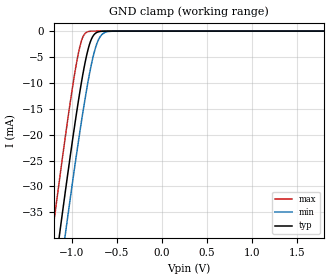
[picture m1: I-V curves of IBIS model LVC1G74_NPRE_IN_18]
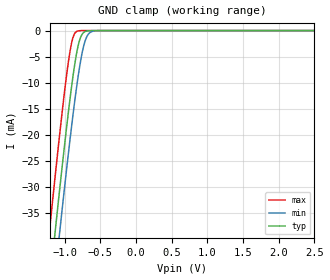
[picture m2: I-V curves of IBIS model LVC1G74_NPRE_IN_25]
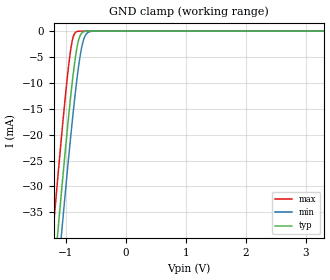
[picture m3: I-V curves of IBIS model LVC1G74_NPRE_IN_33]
| TEXAS INSTRUMENTS INCORPORATED
| Standard Linear and Logic Group
| IBIS Model of SN74LVC1G74
| SINGLE POSITIVE-EDGE-TRIGGERED D-TYPE FLIP FLOP WITH CLEAR AND PRESET
| This file contains package information for the following:
|  SSOP 8-pin (DCT) package as [Component] LVC1G74_DCT
|  VSSOP 8-pin (DCU) package as [Component] LVC1G74_DCU
|  8-pin RES package as [Component] LVC1G74_RSE
|  8-pin (DQE) package as [Component] LVC1G74_DQE
| This device can be powered at the following Vccs:
|  1.8 volt Vcc
|  2.5 volt Vcc
|  3.3 volt Vcc
|  5 volt Vcc
| This file provides unique models under the [Model Selector] for each Vcc.
| For operation at a specific Vcc, select the appropriate model after each
| [Model Selector] keyword.
[IBIS Ver]   3.2
[Comment char]  |_char
[File Name]   sn74lvc1g74.ibs
[File Rev]   1.1 | d_die
[Date]   July 25, 2019
[Source]   Data created from TI-SPICE simulations at TI-SLL.
[Notes]   The following is an IBIS list for the LVC1G74.
   Please contact sllibis@ti.com with questions and
   comments concerning SLL IBIS models.
   - Power-clamp data has been deleted since there is no
   power-clamp diode in the device. s
   - Due to the fact that the device is 5-V input/output
   tolerant, the pullup data has some non-monotonic warnings.
   - Due to the fact that the Device is 5.5-V Input tolarent,
   the pulldown model has some Non-Monotonic Warnings.
[Disclaimer] Property of Texas Instruments Incorporated.  Unauthorized
                reproduction and/or distribution is strictly prohibited.
                This product is protected under copyright law.
                Created  2019, (C) Copyright  2019, Texas Instruments
                Incorporated, All Rights Reserved
                UNLESS THERE IS A SIGNED, WRITTEN AGREEMENT TO THE
                CONTRARY, TEXAS INSTRUMENTS (TI) IS PROVIDING THE IBIS
                MODELS  AND WITHOUT ANY WARRANTY, EXPRESSED OR
                IMPLIED.  TI assumes no liability for:
                 1) the accuracy of the IBIS models provided to your
                    company;
                 2) the proper functioning of these IBIS Models in your
                    design or for any resulting applications; or
                 3) infringement of patents, copyrights or intellectual
                    property rights resulting from your use of these IBIS
                    models.
                TI provides IBIS Models as a service to our customers.
                You and your company shall not distribute, sell or give
                these models to anyone else without prior written
                permission from TI.
                TI reserves the right to make changes to our products or
                to discontinue any semiconductor product or service
                without notice, and advises our customers to obtain the
                latest version of relevant information to verify, before
                placing orders, that the information being relied on is
                current.
                Please be aware that your receipt and use of the IBIS
                information provided shall serve as acceptance of these
                terms and conditions.  If you do not accept these terms,
                you should return or destroy the IBIS models and any
                other accompanying information immediately.
| Component LVC1G74_DCT 8-pin SOT
[Component]   LVC1G74_DCT
[Manufacturer]   Texas Instruments, Inc.
[Package]
|   typ   min   max
R_pkg   2.900e-02   2.800e-02   3.100e-02
L_pkg   1.796e-09   1.666e-09   1.924e-09
C_pkg   2.310e-13   2.210e-13   2.420e-13
[Pin]   signal_name   model_name   R_pin   L_pin   C_pin
1   CLK   LVC1G74_IN   3.100e-02   1.894e-09   2.230e-13
2   D   LVC1G74_IN   2.800e-02   1.697e-09   2.370e-13
3   NQ   LVC1G74_OUT   3.000e-02   1.722e-09   2.390e-13
4   GND   GND   3.000e-02   1.861e-09   2.210e-13
5   Q   LVC1G74_OUT   2.800e-02   1.924e-09   2.280e-13
6   NCLR   LVC1G74_NCLR_IN   2.900e-02   1.736e-09   2.420e-13
7   NPRE   LVC1G74_NPRE_IN   2.800e-02   1.666e-09   2.360e-13
8   VCC   POWER   3.000e-02   1.871e-09   2.220e-13
| Component LVC1G74_DCU 8-pin SOT
[Component]   LVC1G74_DCU
[Manufacturer]   Texas Instruments, Inc.
[Package]
|   typ   min   max
R_pkg   2.600e-02   2.300e-02   3.800e-02
L_pkg   1.394e-09   1.066e-09   2.046e-09
C_pkg   2.590e-13   2.150e-13   3.720e-13
[Pin]   signal_name   model_name   R_pin   L_pin   C_pin
1   CLK   LVC1G74_IN   2.400e-02   1.520e-09   2.710e-13
2   D   LVC1G74_IN   2.300e-02   1.112e-09   2.180e-13
3   NQ   LVC1G74_OUT   2.300e-02   1.070e-09   2.170e-13
4   GND   GND   2.700e-02   2.046e-09   3.720e-13
5   Q   LVC1G74_OUT   2.700e-02   1.542e-09   2.730e-13
6   NCLR   LVC1G74_IN   2.300e-02   1.100e-09   2.240e-13
7   NPRE   LVC1G74_IN   2.300e-02   1.066e-09   2.150e-13
8   VCC   POWER   3.800e-02   1.696e-09   2.800e-13
| Component LVC1G74_PW 8-PIN DQE
[Component]   LVC1G74_DQE
[Manufacturer]   Texas Instruments, Inc.
[Package]
|   typ   min   max
R_pkg   4.041e-02   2.609e-02   5.397e-02
L_pkg   3.575e-10   2.969e-10   4.398e-10
C_pkg   5.781e-14   5.009e-14   6.768e-14
[Pin]   signal_name   model_name   R_pin   L_pin   C_pin
1   CLK   LVC1G74_IN   NA   NA   NA
2   D   LVC1G74_IN   NA   NA   NA
3   NQ   LVC1G74_OUT   NA   NA   NA
4   GND   GND   NA   NA   NA
5   Q   LVC1G74_OUT   NA   NA   NA
6   NCLR   LVC1G74_IN   NA   NA   NA
7   NPRE   LVC1G74_IN   NA   NA   NA
8   VCC   POWER   NA   NA   NA
| Component LVC1G74_RSE
[Component]   LVC1G74_RSE
[Manufacturer]   Texas Instruments, Inc.
[Package]
|   typ   min   max
R_pkg   0.07384   0.06172   0.08697
L_pkg   0.51021nH   0.40726nH   0.62174nH
C_pkg   0.18219pF   0.17417pF   0.19566pF
[Pin]   signal_name   model_name   R_pin   L_pin   C_pin
1   CLK   LVC1G74_IN   NA   NA   NA
2   D   LVC1G74_IN   NA   NA   NA
3   NQ   LVC1G74_OUT   NA   NA   NA
4   GND   GND   NA   NA   NA
5   Q   LVC1G74_OUT   NA   NA   NA
6   NCLR   LVC1G74_IN   NA   NA   NA
7   NPRE   LVC1G74_IN   NA   NA   NA
8   VCC   POWER   NA   NA   NA
| Model LVC1G74_NPRE_IN
[Model Selector]   LVC1G74_NPRE_IN
LVC1G74_NPRE_IN_18   1.8 volt Vcc
LVC1G74_NPRE_IN_25   2.5 volt Vcc
LVC1G74_NPRE_IN_33   3.3 volt Vcc
LVC1G74_NPRE_IN_50   5 volt Vcc
| Model LVC1G74_NCLR_IN
[Model Selector]   LVC1G74_NCLR_IN
LVC1G74_NCLR_IN_18   1.8 volt Vcc
LVC1G74_NCLR_IN_25   2.5 volt Vcc
LVC1G74_NCLR_IN_33   3.3 volt Vcc
LVC1G74_NCLR_IN_50   5 volt Vcc
| Model LVC1G74_IN
[Model Selector]   LVC1G74_IN
LVC1G74_IN_18   1.8 volt Vcc
LVC1G74_IN_25   2.5 volt Vcc
LVC1G74_IN_33   3.3 volt Vcc
LVC1G74_IN_50   5 volt Vcc
| Model LVC1G74_OUT
[Model Selector]   LVC1G74_OUT
LVC1G74_OUT_18   1.8 volt Vcc
LVC1G74_OUT_25   2.5 volt Vcc
LVC1G74_OUT_33   3.3 volt Vcc
LVC1G74_OUT_50   5 volt Vcc
| Models and submodels in the file (16): LVC1G74_NPRE_IN_18 (Input), LVC1G74_NPRE_IN_25 (Input), LVC1G74_NPRE_IN_33 (Input), LVC1G74_NPRE_IN_50 (Input), LVC1G74_NCLR_IN_18 (Input), LVC1G74_NCLR_IN_25 (Input), LVC1G74_NCLR_IN_33 (Input), LVC1G74_NCLR_IN_50 (Input), LVC1G74_IN_18 (Input), LVC1G74_IN_25 (Input), LVC1G74_IN_33 (Input), LVC1G74_IN_50 (Input), LVC1G74_OUT_18 (Output), LVC1G74_OUT_25 (Output), LVC1G74_OUT_33 (Output), LVC1G74_OUT_50 (Output)
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[Model]   LVC1G74_NPRE_IN_18
Model_type  Input
Vinl=0.5775
Vinh=1.2675
| variable   typ   min   max
C_comp   3.50pF   2.98pF   4.30pF
[Temperature Range]   40   100   -40
| Ambient temperature   25   85   -40
[Voltage range]   1.8   1.65   1.95
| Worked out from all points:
|   GND clamp passes 1 mA (typ) near -0.77 V on its own axis
[GND Clamp]
| LVC1G74_NPRE_IN_18
|   Voltage   I(typ)   I(min)   I(max)
-5.5V     -655.2mA   -662.2mA   -646.6mA
-1.215V   -49.6mA    -57.88mA   -38.96mA
-1.135V   -39.07mA   -47.36mA   -28.42mA
-1.075V   -31.35mA   -39.6mA    -20.75mA
-1.055V   -28.82mA   -37.05mA   -18.27mA
-955mV    -16.68mA   -24.66mA   -6.874mA
-885mV    -9.098mA   -16.55mA   -1.486mA
-825mV    -3.922mA   -10.26mA   -137.1uA
-780mV    -1.472mA   -6.227mA   -17.15uA
-715mV    -205.4uA   -2.128mA   -808.5nA
-650mV    -22.01uA   -443.9uA   -37.93nA
1.8V      3.326pA    6.142pA    3.026pA
[Model]   LVC1G74_NPRE_IN_25
Model_type  Input
Vinl=0.7
Vinh=1.7
| variable   typ   min   max
C_comp   3.43pF   2.80pF   4.40pF
[Temperature Range]   40   100   -40
| Ambient temperature   25   85   -40
[Voltage range]   2.5   2.3   2.7
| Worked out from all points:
|   GND clamp passes 1 mA (typ) near -0.77 V on its own axis
[GND Clamp]
| LVC1G74_NPRE_IN_25
|   Voltage   I(typ)   I(min)   I(max)
-5.5V     -655.2mA   -662.2mA   -646.6mA
-1.215V   -49.6mA    -57.88mA   -38.96mA
-1.14V    -39.72mA   -48.01mA   -29.07mA
-1.12V    -37.12mA   -45.41mA   -26.48mA
-1.08V    -31.98mA   -40.25mA   -21.38mA
-1.06V    -29.44mA   -37.69mA   -18.89mA
-960mV    -17.26mA   -25.26mA   -7.377mA
-890mV    -9.597mA   -17.1mA    -1.734mA
-785mV    -1.671mA   -6.635mA   -21.67uA
-720mV    -242.5uA   -2.354mA   -1.023uA
-650mV    -22.01uA   -443.9uA   -37.93nA
2.5V      4.713pA    7.577pA    4.389pA
[Model]   LVC1G74_NPRE_IN_33
Model_type  Input
Vinl=0.8
Vinh=2.0
| variable   typ   min   max
C_comp   3.34pF   2.69pF   4.33pF
[Temperature Range]   40   100   -40
| Ambient temperature   25   85   -40
[Voltage range]   3.3   3   3.6
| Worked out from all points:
|   GND clamp passes 1 mA (typ) near -0.77 V on its own axis
[GND Clamp]
| LVC1G74_NPRE_IN_33
|   Voltage   I(typ)   I(min)   I(max)
-5.5V     -655.2mA   -662.2mA   -646.6mA
-1.225V   -50.93mA   -59.21mA   -40.3mA
-1.145V   -40.37mA   -48.66mA   -29.72mA
-1.12V    -37.12mA   -45.41mA   -26.48mA
-1.08V    -31.98mA   -40.25mA   -21.38mA
-1.06V    -29.44mA   -37.69mA   -18.89mA
-965mV    -17.84mA   -25.87mA   -7.89mA
-885mV    -9.098mA   -16.55mA   -1.486mA
-780mV    -1.472mA   -6.227mA   -17.15uA
-715mV    -205.4uA   -2.128mA   -808.5nA
-640mV    -15.53uA   -338.1uA   -23.69nA
3.3V      6.304pA    9.258pA    5.93pA
